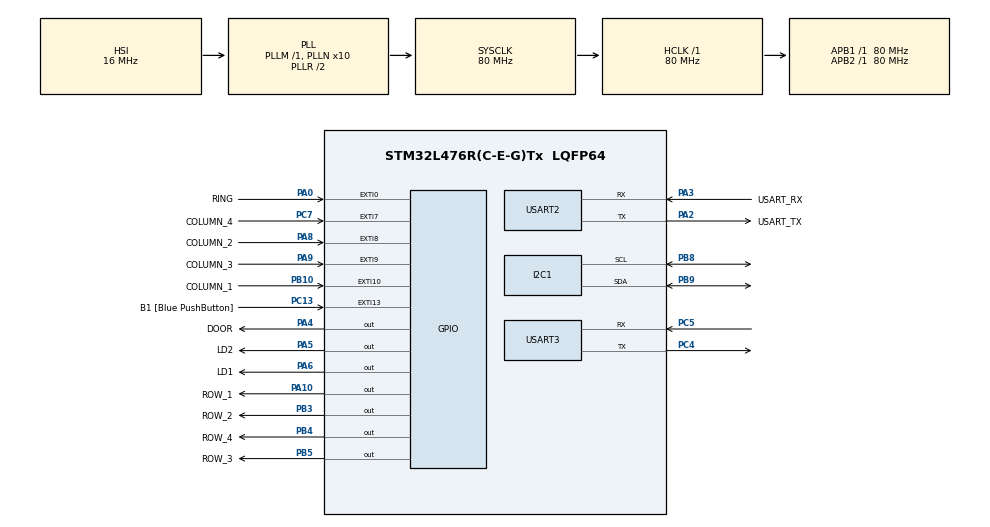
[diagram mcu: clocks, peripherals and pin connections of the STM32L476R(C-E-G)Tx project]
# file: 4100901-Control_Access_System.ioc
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I2C1.Timing=0x10D19CE4
Mcu.Family=STM32L4
Mcu.Name=STM32L476R(C-E-G)Tx
Mcu.Package=LQFP64
NVIC.EXTI0_IRQn=true\:0\:0\:false\:false\:true\:true\:true\:true
NVIC.EXTI15_10_IRQn=true\:1\:0\:true\:false\:true\:true\:true\:true
NVIC.EXTI9_5_IRQn=true\:1\:0\:true\:false\:true\:true\:true\:true
NVIC.PriorityGroup=NVIC_PRIORITYGROUP_4
NVIC.USART2_IRQn=true\:0\:0\:false\:false\:true\:true\:true\:true
NVIC.USART3_IRQn=true\:0\:0\:false\:false\:true\:true\:true\:true
PA0.GPIO_Label=RING
PA0.GPIO_PuPd=GPIO_PULLDOWN
PA0.Signal=GPXTI0
PA10.GPIO_Label=ROW_1
PA10.GPIO_ModeDefaultOutputPP=GPIO_MODE_OUTPUT_OD
PA10.GPIO_PuPd=GPIO_NOPULL
PA10.GPIO_Speed=GPIO_SPEED_FREQ_VERY_HIGH
PA10.PinState=GPIO_PIN_RESET
PA10.Signal=GPIO_Output
PA13\ (JTMS-SWDIO).GPIO_Label=TMS
PA13\ (JTMS-SWDIO).Mode=Serial_Wire
PA13\ (JTMS-SWDIO).Signal=SYS_JTMS-SWDIO
PA14\ (JTCK-SWCLK).GPIO_Label=TCK
PA14\ (JTCK-SWCLK).Mode=Serial_Wire
PA14\ (JTCK-SWCLK).Signal=SYS_JTCK-SWCLK
PA2.GPIO_Label=USART_TX
PA2.GPIO_Mode=GPIO_MODE_AF_PP
PA2.GPIO_PuPd=GPIO_NOPULL
PA2.GPIO_Speed=GPIO_SPEED_FREQ_VERY_HIGH
PA2.Mode=Asynchronous
PA2.Signal=USART2_TX
PA3.GPIO_Label=USART_RX
PA3.GPIO_Mode=GPIO_MODE_AF_PP
PA3.GPIO_PuPd=GPIO_NOPULL
PA3.GPIO_Speed=GPIO_SPEED_FREQ_VERY_HIGH
PA3.Mode=Asynchronous
PA3.Signal=USART2_RX
PA4.GPIO_Label=DOOR
PA4.Signal=GPIO_Output
PA5.GPIO_Label=LD2
PA5.GPIO_ModeDefaultOutputPP=GPIO_MODE_OUTPUT_PP
PA5.GPIO_PuPd=GPIO_NOPULL
PA5.GPIO_Speed=GPIO_SPEED_FREQ_LOW
PA5.Signal=GPIO_Output
PA6.GPIO_Label=LD1
PA6.GPIO_PuPd=GPIO_NOPULL
PA6.Signal=GPIO_Output
PA8.GPIO_Label=COLUMN_2
PA8.GPIO_ModeDefaultEXTI=GPIO_MODE_IT_FALLING
PA8.GPIO_PuPd=GPIO_PULLUP
PA8.Signal=GPXTI8
PA9.GPIO_Label=COLUMN_3
PA9.GPIO_ModeDefaultEXTI=GPIO_MODE_IT_FALLING
PA9.GPIO_PuPd=GPIO_PULLUP
PA9.Signal=GPXTI9
PB10.GPIO_Label=COLUMN_1
PB10.GPIO_ModeDefaultEXTI=GPIO_MODE_IT_FALLING
PB10.GPIO_PuPd=GPIO_PULLUP
PB10.Signal=GPXTI10
PB3\ (JTDO-TRACESWO).GPIO_Label=ROW_2
PB3\ (JTDO-TRACESWO).GPIO_ModeDefaultOutputPP=GPIO_MODE_OUTPUT_OD
PB3\ (JTDO-TRACESWO).GPIO_PuPd=GPIO_NOPULL
PB3\ (JTDO-TRACESWO).GPIO_Speed=GPIO_SPEED_FREQ_VERY_HIGH
PB3\ (JTDO-TRACESWO).PinState=GPIO_PIN_RESET
PB3\ (JTDO-TRACESWO).Signal=GPIO_Output
PB4\ (NJTRST).GPIO_Label=ROW_4
PB4\ (NJTRST).GPIO_ModeDefaultOutputPP=GPIO_MODE_OUTPUT_OD
PB4\ (NJTRST).GPIO_PuPd=GPIO_NOPULL
PB4\ (NJTRST).GPIO_Speed=GPIO_SPEED_FREQ_VERY_HIGH
PB4\ (NJTRST).PinState=GPIO_PIN_RESET
PB4\ (NJTRST).Signal=GPIO_Output
PB5.GPIO_Label=ROW_3
PB5.GPIO_ModeDefaultOutputPP=GPIO_MODE_OUTPUT_OD
PB5.GPIO_PuPd=GPIO_NOPULL
PB5.GPIO_Speed=GPIO_SPEED_FREQ_VERY_HIGH
PB5.PinState=GPIO_PIN_RESET
PB5.Signal=GPIO_Output
PB8.Mode=I2C
PB8.Signal=I2C1_SCL
PB9.Mode=I2C
PB9.Signal=I2C1_SDA
PC13.GPIO_Label=B1 [Blue PushButton]
PC13.GPIO_ModeDefaultEXTI=GPIO_MODE_IT_FALLING
PC13.GPIO_PuPd=GPIO_NOPULL
PC13.Signal=GPXTI13
PC14-OSC32_IN\ (PC14).Mode=LSE-External-Oscillator
PC14-OSC32_IN\ (PC14).Signal=RCC_OSC32_IN
PC15-OSC32_OUT\ (PC15).Mode=LSE-External-Oscillator
PC15-OSC32_OUT\ (PC15).Signal=RCC_OSC32_OUT
PC4.Mode=Asynchronous
PC4.Signal=USART3_TX
PC5.Mode=Asynchronous
PC5.Signal=USART3_RX
PC7.GPIO_Label=COLUMN_4
PC7.GPIO_ModeDefaultEXTI=GPIO_MODE_IT_FALLING
PC7.GPIO_PuPd=GPIO_PULLUP
PC7.Signal=GPXTI7
PH0-OSC_IN\ (PH0).Signal=RCC_OSC_IN
PH1-OSC_OUT\ (PH1).Signal=RCC_OSC_OUT
ProjectManager.HeapSize=0x200
ProjectManager.StackSize=0x400
ProjectManager.TargetToolchain=CMake
RCC.ADCFreq_Value=64000000
RCC.AHBFreq_Value=80000000
RCC.APB1Freq_Value=80000000
RCC.APB1TimFreq_Value=80000000
RCC.APB2Freq_Value=80000000
RCC.APB2TimFreq_Value=80000000
RCC.CortexFreq_Value=80000000
RCC.HCLKFreq_Value=80000000
RCC.HSE_VALUE=8000000
RCC.HSI_VALUE=16000000
RCC.MSI_VALUE=4000000
RCC.PLLN=10
RCC.PLLSourceVirtual=RCC_PLLSOURCE_HSI
RCC.PREFETCH_ENABLE=1
RCC.SYSCLKFreq_VALUE=80000000
RCC.SYSCLKSource=RCC_SYSCLKSOURCE_PLLCLK
RCC.USBFreq_Value=64000000
RCC.VCOOutputFreq_Value=160000000
USART2.VirtualMode-Asynchronous=VM_ASYNC
USART3.VirtualMode-Asynchronous=VM_ASYNC
board=NUCLEO-L476RG

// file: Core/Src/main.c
/* USER CODE BEGIN Header */
/**
  ******************************************************************************
  * @file           : main.c
  * @brief          : Main program body
  ******************************************************************************
  * @attention
  *
  * Copyright (c) 2025 STMicroelectronics.
  * All rights reserved.
  *
  * This software is licensed under terms that can be found in the LICENSE file
  * in the root directory of this software component.
  * If no LICENSE file comes with this software, it is provided AS-IS.
  *
  ******************************************************************************
  */
/* USER CODE END Header */
#include "main.h"

/* USER CODE BEGIN Includes */
#include <stdio.h>
#include <string.h>
#include "keypad.h"
#include "ssd1306.h"
#include "ssd1306_fonts.h"
#include "locked.h"
#include "unlocked.h"
#include "ring_buffer.h"

/* USER CODE END Includes */

I2C_HandleTypeDef hi2c1;

UART_HandleTypeDef huart2;
UART_HandleTypeDef huart3;

/* USER CODE BEGIN PV */
uint16_t keypad_colum_pressed = 0; // Variable para almacenar la columna presionada en el teclado
uint32_t key_pressed_tick = 0; // Marca de tiempo de la última tecla presionada
uint8_t b1_press_count = 0; // Contador de presiones del botón B1

uint8_t pc_rx_data[3]; // Buffer para datos recibidos desde la PC
ring_buffer_t pc_rx_buffer; // Declaración del buffer circular para la PC

uint8_t keypad_rx_data[3]; // Buffer para datos recibidos desde el teclado
ring_buffer_t keypad_rx_buffer; // Declaración del buffer circular para el teclado

uint8_t internet_rx_data[3]; // Buffer para datos recibidos desde internet
ring_buffer_t internet_rx_buffer; // Declaración del buffer circular para internet

extern char state[3]; // Declaración externa de la variable de estado
char state[3] = "Close"; // Inicialización del estado de la puerta como "Cerrada"
/* USER CODE END PV */

void SystemClock_Config(void);
static void MX_GPIO_Init(void);
static void MX_USART2_UART_Init(void);
static void MX_USART3_UART_Init(void);
static void MX_I2C1_Init(void);

/* USER CODE BEGIN 0 */

int system_events_handler(char *event)
{

}
void system_state_machine(char *states)
{

}

void HAL_GPIO_EXTI_Callback(uint16_t GPIO_Pin) {
  if (GPIO_Pin == B1_Pin) { // Si la interrupción proviene del pin del botón B1
      int press_type = detect_button_press(); // Detecta el tipo de presión del botón
      if (press_type == 2) { // Si es una presión doble
        strcpy(state, "Open"); // Cambia el estado a "Abierto"
        HAL_UART_Transmit(&huart2, (uint8_t *)"Temporaly open\r\n", 15, 100); // Envía mensaje por UART
        HAL_GPIO_WritePin(DOOR_GPIO_Port, DOOR_Pin, GPIO_PIN_SET); // Activa el pin de la puerta (abre)
        ssd1306_Fill(Black); // Limpia la pantalla OLED
        ssd1306_DrawBitmap(0, 0, unlocked, 128, 64, White); // Muestra la imagen de "abierto"
        ssd1306_UpdateScreen(); // Actualiza la pantalla OLED
        HAL_Delay(5000);  // Mantiene la puerta abierta por 5 segundos
        strcpy(state, "Close"); // Cambia el estado a "Cerrado"
        HAL_UART_Transmit(&huart2, (uint8_t *)"close door\r\n", 15, 100); // Envía mensaje por UART
        HAL_GPIO_WritePin(DOOR_GPIO_Port, DOOR_Pin, GPIO_PIN_RESET); // Desactiva el pin de la puerta (cierra)
        ssd1306_Fill(Black); // Limpia la pantalla OLED
        ssd1306_DrawBitmap(0, 0, locked, 128, 64, White); // Muestra la imagen de "cerrado"
        ssd1306_UpdateScreen(); // Actualiza la pantalla OLED
      }
      else if (press_type == 1) { // Si es una presión
        if (strcmp(state, "Open") == 0){  // Si la puerta está abierta
          strcpy(state, "Close"); // Cambia el estado a "Cerrado"
          HAL_UART_Transmit(&huart2, (uint8_t *)"close door\r\n", 15, 100); // Envía mensaje por UART
          HAL_GPIO_WritePin(DOOR_GPIO_Port, DOOR_Pin, GPIO_PIN_RESET); // Cierra la puerta
          ssd1306_Fill(Black); // Limpia la pantalla OLED
          ssd1306_DrawBitmap(0, 0, locked, 128, 64, White); // Muestra la imagen de "cerrado"
          ssd1306_UpdateScreen(); // Actualiza la pantalla OLED
        }
        else {  // Si la puerta está cerrada
          strcpy(state, "Open");  // Cambia el estado a "Abierto"
          HAL_UART_Transmit(&huart2, (uint8_t *)"opened door\r\n", 15, 100); // Envía mensaje por UART
          HAL_GPIO_WritePin(DOOR_GPIO_Port, DOOR_Pin, GPIO_PIN_SET); // Abre la puerta
          ssd1306_Fill(Black); // Limpia la pantalla OLED
          ssd1306_DrawBitmap(0, 0, unlocked, 128, 64, White); // Muestra la imagen de "abierto"
          ssd1306_UpdateScreen(); // Actualiza la pantalla OLED
        }
      }
  } else {
      keypad_colum_pressed = GPIO_Pin; // Si la interrupción proviene del teclado, guarda la columna presionada
  }
}

void HAL_UART_RxCpltCallback(UART_HandleTypeDef *huart)
{
  if (huart->Instance == USART2) { //Si la recepción proviene de UART2(PC)
    HAL_UART_Transmit(&huart3, huart->pRxBuffPtr, huart->RxXferSize, 1000);
    HAL_UART_Receive_IT(&huart2, huart->pRxBuffPtr, huart->RxXferSize);
  } else if (huart->Instance == USART3) { //Si la recepción proviene de UART3 (ESP01)
    HAL_UART_Transmit(&huart2, huart->pRxBuffPtr, huart->RxXferSize, 1000);
    HAL_UART_Receive_IT(&huart3, huart->pRxBuffPtr, huart->RxXferSize);
  }
}

/**
 * @brief  Heartbeat function to blink LED2 every 1 second to indicate the system is running
*/
void heartbeat(void)
{
  static uint32_t last_heartbeat = 0;
  if (HAL_GetTick() - last_heartbeat > 1000) // Verifica si ha pasado 1 segundo
  {
    last_heartbeat = HAL_GetTick();
    HAL_GPIO_TogglePin(LD2_GPIO_Port, LD2_Pin); // Alterna el estado del LED
  }
}

/**
 * @brief  Retargets the C library printf function to the USART.
*/
int _write(int file, char *ptr, int len)
{
  (void)file;
  HAL_UART_Transmit(&huart2, (uint8_t *)ptr, len, 10);
  return len;
}

void ssd_printer(ring_buffer_t *rb, uint8_t *buffer, char *state)
{
  (void)rb;
  if (strcmp((char *)buffer, "#A#") == 0) //Comando para abrir la puerta
  {
    ssd1306_Fill(Black);
    ssd1306_DrawBitmap(0, 0, unlocked, 128, 64, White);
    ssd1306_UpdateScreen();
  }

 else if (strcmp((char *)buffer, "#C#") == 0) //Comando para cerrar la puerta
 {

  ssd1306_Fill(Black);
  ssd1306_DrawBitmap(0, 0, locked, 128, 64, White);
  ssd1306_UpdateScreen();

 }
}

void process_command(ring_buffer_t *rb, uint8_t *buffer, char *state) { //Procesa los comandos de los ring buffers
  if (ring_buffer_size(rb) == 3) {   //Comprueba si el ring buffer está lleno
      for (int i = 0; i < 3; i++) {
          ring_buffer_read(rb, &buffer[i]);
      }
      buffer[3] = '\0';

      if (strcmp((char *)buffer, "#A#") == 0) { //Verifica si es el comando para abrir
          if (strcmp(state, "Open") == 0) { //Verifica si la puerta está abierta
              HAL_UART_Transmit(&huart2, (uint8_t *)"Already opened\r\n", 18, 100);
              ssd_printer(rb, buffer, state);
          } else {
              HAL_GPIO_TogglePin(DOOR_GPIO_Port, DOOR_Pin);  //Si está cerrada la abre
              HAL_UART_Transmit(&huart2, (uint8_t *)"opened door\r\n", 15, 100);
              ssd_printer(rb, buffer, state);
              strcpy(state, "Open");
          }

      }

      else if (strcmp((char *)buffer, "#C#") == 0) {//Verifica si es el comando de cerrar
          if (strcmp(state, "Close") == 0) { //Verifica si la puerta está cerrada
              HAL_UART_Transmit(&huart2, (uint8_t *)"Already closed\r\n", 17, 100);
              ssd_printer(rb, buffer, state);
          } else {
              HAL_GPIO_TogglePin(DOOR_GPIO_Port, DOOR_Pin); //Si está abierta la abre
              HAL_UART_Transmit(&huart2, (uint8_t *)"closed door\r\n", 15, 100);
              ssd_printer(rb, buffer, state);
              strcpy(state, "Close");
          }
      }
      else {
          HAL_UART_Transmit(&huart2, (uint8_t *)"invalid command\r\n", 18, 100); //Si no es un comando válido
          if (strcmp(state, "Close") == 0) { //Si la puerta está cerrada la deja en ese estado
              ssd1306_Fill(Black);
              ssd1306_DrawBitmap(0, 0, locked, 128, 64, White);
              ssd1306_UpdateScreen();
          } else { //Si la puerta está abierta la deja en ese estado
              ssd1306_Fill(Black);
              ssd1306_DrawBitmap(0, 0, unlocked, 128, 64, White);
              ssd1306_UpdateScreen();
          }
      }

      for (int i = 0; i < 3; i++) {
          buffer[i] = '_';
      }
  }
}
/* USER CODE END 0 */

int main(void)
{

  /* MCU Configuration--------------------------------------------------------*/

  /* Reset of all peripherals, Initializes the Flash interface and the Systick. */
  HAL_Init();

  /* Configure the system clock */
  SystemClock_Config();

  /* Initialize all configured peripherals */
  MX_GPIO_Init();
  MX_USART2_UART_Init();
  MX_USART3_UART_Init();
  MX_I2C1_Init();
  /* USER CODE BEGIN 2 */
  //HAL_UART_Receive_IT(&huart2, pc_rx_data, sizeof(pc_rx_data));
  //HAL_UART_Receive_IT(&huart3, keypad_rx_data, sizeof(keypad_rx_data));

  ring_buffer_init(&pc_rx_buffer, pc_rx_data, sizeof(pc_rx_data)); //Inicialización de los ring buffer
  ring_buffer_init(&keypad_rx_buffer, keypad_rx_data, sizeof(keypad_rx_data));//Inicialización de los ring buffer
  ring_buffer_init(&internet_rx_buffer, internet_rx_data, sizeof(internet_rx_data));//Inicialización de los ring buffer
  setvbuf(stdout, NULL, _IONBF, 0);

  keypad_init(); //Inicialización del keypad
  HAL_GPIO_WritePin(DOOR_GPIO_Port, DOOR_Pin, GPIO_PIN_RESET);
  ssd1306_Init(); //Inicialización de la pantalla
  ssd1306_Fill(Black);
  ssd1306_DrawBitmap(0, 0, locked, 128, 64, White); //Estado inicial de la puerta (cerrada)
  ssd1306_UpdateScreen();
  uint8_t internet_key;
  uint8_t pc_key;
  uint8_t key;

  for (size_t i = 0; i < sizeof(keypad_rx_data); i++) {
    keypad_rx_data[i] = '_';
    pc_rx_data[i] = '_';
  }
  /* USER CODE END 2 */

  /* Infinite loop */
  /* USER CODE BEGIN WHILE */
  while (1) {
    heartbeat();
    if (keypad_colum_pressed != 0 && (key_pressed_tick + 5) < HAL_GetTick()) {
      key = keypad_scan(keypad_colum_pressed);
      keypad_colum_pressed = 0;
      if (key != 'E') {
        ring_buffer_write(&keypad_rx_buffer, key);
        uint8_t size = ring_buffer_size(&keypad_rx_buffer);
        char msg[45];
        snprintf(msg, sizeof(msg), "Key: %c, Buffer: %s, Size: %d\r\n", key, keypad_rx_data, size);
        HAL_UART_Transmit(&huart2, (uint8_t *)msg, strlen(msg), 100);
      }

    }
    if (HAL_UART_Receive(&huart2, &pc_key, 1, 10) == HAL_OK) {
      ring_buffer_write(&pc_rx_buffer, pc_key);
      uint8_t size = ring_buffer_size(&pc_rx_buffer);
      char msg[45];
      snprintf(msg, sizeof(msg), "PC Key: %c, Buffer: %s, Size: %d\r\n", pc_key, pc_rx_data, size);
      HAL_UART_Transmit(&huart2, (uint8_t *)msg, strlen(msg), 100);
    }
    if (HAL_UART_Receive(&huart3, &internet_key, 1, 10) == HAL_OK) {
      ring_buffer_write(&internet_rx_buffer, internet_key);
      uint8_t size = ring_buffer_size(&internet_rx_buffer);
      char msg[45];
      snprintf(msg, sizeof(msg), "PC Key: %c, Buffer: %s, Size: %d\r\n", internet_key, internet_rx_data, size);
      HAL_UART_Transmit(&huart2, (uint8_t *)msg, strlen(msg), 100);
    }
    process_command(&keypad_rx_buffer, keypad_rx_data, state); //Procesamiento del ring buffer de los datos ingreados
    process_command(&pc_rx_buffer, pc_rx_data, state);//Procesamiento del ring buffer de los datos
    process_command(&internet_rx_buffer, internet_rx_data, state);//Procesamiento del ring buffer de los datos
    /* USER CODE END WHILE */

    /* USER CODE BEGIN 3 */
    system_state_machine(state);
    HAL_Delay(100);
  }
  /* USER CODE END 3 */
}

void SystemClock_Config(void)
{
  RCC_OscInitTypeDef RCC_OscInitStruct = {0};
  RCC_ClkInitTypeDef RCC_ClkInitStruct = {0};

  /** Configure the main internal regulator output voltage
  */
  if (HAL_PWREx_ControlVoltageScaling(PWR_REGULATOR_VOLTAGE_SCALE1) != HAL_OK)
  {
    Error_Handler();
  }

  /** Initializes the RCC Oscillators according to the specified parameters
  * in the RCC_OscInitTypeDef structure.
  */
  RCC_OscInitStruct.OscillatorType = RCC_OSCILLATORTYPE_HSI;
  RCC_OscInitStruct.HSIState = RCC_HSI_ON;
  RCC_OscInitStruct.HSICalibrationValue = RCC_HSICALIBRATION_DEFAULT;
  RCC_OscInitStruct.PLL.PLLState = RCC_PLL_ON;
  RCC_OscInitStruct.PLL.PLLSource = RCC_PLLSOURCE_HSI;
  RCC_OscInitStruct.PLL.PLLM = 1;
  RCC_OscInitStruct.PLL.PLLN = 10;
  RCC_OscInitStruct.PLL.PLLP = RCC_PLLP_DIV7;
  RCC_OscInitStruct.PLL.PLLQ = RCC_PLLQ_DIV2;
  RCC_OscInitStruct.PLL.PLLR = RCC_PLLR_DIV2;
  if (HAL_RCC_OscConfig(&RCC_OscInitStruct) != HAL_OK)
  {
    Error_Handler();
  }

  /** Initializes the CPU, AHB and APB buses clocks
  */
  RCC_ClkInitStruct.ClockType = RCC_CLOCKTYPE_HCLK|RCC_CLOCKTYPE_SYSCLK
                              |RCC_CLOCKTYPE_PCLK1|RCC_CLOCKTYPE_PCLK2;
  RCC_ClkInitStruct.SYSCLKSource = RCC_SYSCLKSOURCE_PLLCLK;
  RCC_ClkInitStruct.AHBCLKDivider = RCC_SYSCLK_DIV1;
  RCC_ClkInitStruct.APB1CLKDivider = RCC_HCLK_DIV1;
  RCC_ClkInitStruct.APB2CLKDivider = RCC_HCLK_DIV1;

  if (HAL_RCC_ClockConfig(&RCC_ClkInitStruct, FLASH_LATENCY_4) != HAL_OK)
  {
    Error_Handler();
  }
}

static void MX_I2C1_Init(void)
{

  hi2c1.Instance = I2C1;
  hi2c1.Init.Timing = 0x10D19CE4;
  hi2c1.Init.OwnAddress1 = 0;
  hi2c1.Init.AddressingMode = I2C_ADDRESSINGMODE_7BIT;
  hi2c1.Init.DualAddressMode = I2C_DUALADDRESS_DISABLE;
  hi2c1.Init.OwnAddress2 = 0;
  hi2c1.Init.OwnAddress2Masks = I2C_OA2_NOMASK;
  hi2c1.Init.GeneralCallMode = I2C_GENERALCALL_DISABLE;
  hi2c1.Init.NoStretchMode = I2C_NOSTRETCH_DISABLE;
  if (HAL_I2C_Init(&hi2c1) != HAL_OK)
  {
    Error_Handler();
  }

  /** Configure Analogue filter
  */
  if (HAL_I2CEx_ConfigAnalogFilter(&hi2c1, I2C_ANALOGFILTER_ENABLE) != HAL_OK)
  {
    Error_Handler();
  }

  /** Configure Digital filter
  */
  if (HAL_I2CEx_ConfigDigitalFilter(&hi2c1, 0) != HAL_OK)
  {
    Error_Handler();
  }

}

static void MX_USART2_UART_Init(void)
{

  huart2.Instance = USART2;
  huart2.Init.BaudRate = 115200;
  huart2.Init.WordLength = UART_WORDLENGTH_8B;
  huart2.Init.StopBits = UART_STOPBITS_1;
  huart2.Init.Parity = UART_PARITY_NONE;
  huart2.Init.Mode = UART_MODE_TX_RX;
  huart2.Init.HwFlowCtl = UART_HWCONTROL_NONE;
  huart2.Init.OverSampling = UART_OVERSAMPLING_16;
  huart2.Init.OneBitSampling = UART_ONE_BIT_SAMPLE_DISABLE;
  huart2.AdvancedInit.AdvFeatureInit = UART_ADVFEATURE_NO_INIT;
  if (HAL_UART_Init(&huart2) != HAL_OK)
  {
    Error_Handler();
  }

}

static void MX_USART3_UART_Init(void)
{

  huart3.Instance = USART3;
  huart3.Init.BaudRate = 115200;
  huart3.Init.WordLength = UART_WORDLENGTH_8B;
  huart3.Init.StopBits = UART_STOPBITS_1;
  huart3.Init.Parity = UART_PARITY_NONE;
  huart3.Init.Mode = UART_MODE_TX_RX;
  huart3.Init.HwFlowCtl = UART_HWCONTROL_NONE;
  huart3.Init.OverSampling = UART_OVERSAMPLING_16;
  huart3.Init.OneBitSampling = UART_ONE_BIT_SAMPLE_DISABLE;
  huart3.AdvancedInit.AdvFeatureInit = UART_ADVFEATURE_NO_INIT;
  if (HAL_UART_Init(&huart3) != HAL_OK)
  {
    Error_Handler();
  }

}

static void MX_GPIO_Init(void)
{
  GPIO_InitTypeDef GPIO_InitStruct = {0};

  /* GPIO Ports Clock Enable */
  __HAL_RCC_GPIOC_CLK_ENABLE();
  __HAL_RCC_GPIOH_CLK_ENABLE();
  __HAL_RCC_GPIOA_CLK_ENABLE();
  __HAL_RCC_GPIOB_CLK_ENABLE();

  /*Configure GPIO pin Output Level */
  HAL_GPIO_WritePin(GPIOA, DOOR_Pin|LD2_Pin|LD1_Pin|ROW_1_Pin, GPIO_PIN_RESET);

  /*Configure GPIO pin Output Level */
  HAL_GPIO_WritePin(GPIOB, ROW_2_Pin|ROW_4_Pin|ROW_3_Pin, GPIO_PIN_RESET);

  /*Configure GPIO pin : B1_Pin */
  GPIO_InitStruct.Pin = B1_Pin;
  GPIO_InitStruct.Mode = GPIO_MODE_IT_FALLING;
  GPIO_InitStruct.Pull = GPIO_NOPULL;
  HAL_GPIO_Init(B1_GPIO_Port, &GPIO_InitStruct);

  /*Configure GPIO pin : RING_Pin */
  GPIO_InitStruct.Pin = RING_Pin;
  GPIO_InitStruct.Mode = GPIO_MODE_IT_RISING;
  GPIO_InitStruct.Pull = GPIO_PULLDOWN;
  HAL_GPIO_Init(RING_GPIO_Port, &GPIO_InitStruct);

  /*Configure GPIO pins : DOOR_Pin LD2_Pin LD1_Pin */
  GPIO_InitStruct.Pin = DOOR_Pin|LD2_Pin|LD1_Pin;
  GPIO_InitStruct.Mode = GPIO_MODE_OUTPUT_PP;
  GPIO_InitStruct.Pull = GPIO_NOPULL;
  GPIO_InitStruct.Speed = GPIO_SPEED_FREQ_LOW;
  HAL_GPIO_Init(GPIOA, &GPIO_InitStruct);

  /*Configure GPIO pin : COLUMN_1_Pin */
  GPIO_InitStruct.Pin = COLUMN_1_Pin;
  GPIO_InitStruct.Mode = GPIO_MODE_IT_FALLING;
  GPIO_InitStruct.Pull = GPIO_PULLUP;
  HAL_GPIO_Init(COLUMN_1_GPIO_Port, &GPIO_InitStruct);

  /*Configure GPIO pin : COLUMN_4_Pin */
  GPIO_InitStruct.Pin = COLUMN_4_Pin;
  GPIO_InitStruct.Mode = GPIO_MODE_IT_FALLING;
  GPIO_InitStruct.Pull = GPIO_PULLUP;
  HAL_GPIO_Init(COLUMN_4_GPIO_Port, &GPIO_InitStruct);

  /*Configure GPIO pins : COLUMN_2_Pin COLUMN_3_Pin */
  GPIO_InitStruct.Pin = COLUMN_2_Pin|COLUMN_3_Pin;
  GPIO_InitStruct.Mode = GPIO_MODE_IT_FALLING;
  GPIO_InitStruct.Pull = GPIO_PULLUP;
  HAL_GPIO_Init(GPIOA, &GPIO_InitStruct);

  /*Configure GPIO pin : ROW_1_Pin */
  GPIO_InitStruct.Pin = ROW_1_Pin;
  GPIO_InitStruct.Mode = GPIO_MODE_OUTPUT_OD;
  GPIO_InitStruct.Pull = GPIO_NOPULL;
  GPIO_InitStruct.Speed = GPIO_SPEED_FREQ_VERY_HIGH;
  HAL_GPIO_Init(ROW_1_GPIO_Port, &GPIO_InitStruct);

  /*Configure GPIO pins : ROW_2_Pin ROW_4_Pin ROW_3_Pin */
  GPIO_InitStruct.Pin = ROW_2_Pin|ROW_4_Pin|ROW_3_Pin;
  GPIO_InitStruct.Mode = GPIO_MODE_OUTPUT_OD;
  GPIO_InitStruct.Pull = GPIO_NOPULL;
  GPIO_InitStruct.Speed = GPIO_SPEED_FREQ_VERY_HIGH;
  HAL_GPIO_Init(GPIOB, &GPIO_InitStruct);

  /* EXTI interrupt init*/
  HAL_NVIC_SetPriority(EXTI0_IRQn, 0, 0);
  HAL_NVIC_EnableIRQ(EXTI0_IRQn);

  HAL_NVIC_SetPriority(EXTI9_5_IRQn, 1, 0);
  HAL_NVIC_EnableIRQ(EXTI9_5_IRQn);

  HAL_NVIC_SetPriority(EXTI15_10_IRQn, 1, 0);
  HAL_NVIC_EnableIRQ(EXTI15_10_IRQn);

}

void Error_Handler(void)
{
  __disable_irq();
  while (1)
  {
  }
}
